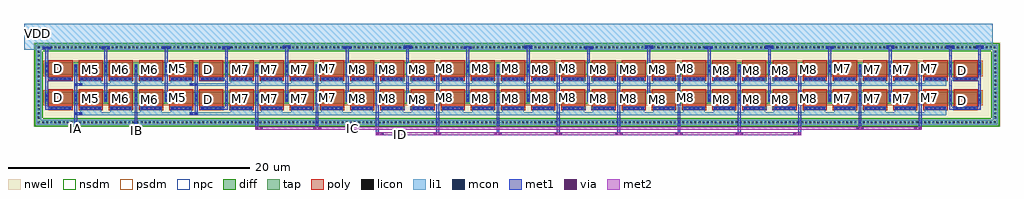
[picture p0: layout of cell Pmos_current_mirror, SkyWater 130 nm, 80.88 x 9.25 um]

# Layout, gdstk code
from math import pi, radians
import gdstk
lib = gdstk.Library(unit=1e-6, precision=1e-09)
def R(c, l, rs):  # rectangles x0, y0, x1, y1
    for r in rs: c.add(gdstk.rectangle(r[:2], r[2:], *l))
def A(c, l, x, y, w, h, nx, ny, dx, dy):  # array of equal rectangles
    R(c, l, [(x+i*dx, y+j*dy, x+i*dx+w, y+j*dy+h) for i in range(nx) for j in range(ny)])
nwell = (64, 20)
diff = (65, 20)
tap = (65, 44)
poly = (66, 20)
licon = (66, 44)
li1 = (67, 20)
mcon = (67, 44)
met1 = (68, 20)
via = (68, 44)
met2 = (69, 20)
nsdm = (93, 44)
psdm = (94, 20)
npc = (95, 20)

vias_gen_1 = lib.new_cell('vias_gen$1')
R(vias_gen_1, li1, [(0,0,0.66,0.23)])
R(vias_gen_1, mcon, [(0.065,0.03,0.235,0.2), (0.425,0.03,0.595,0.2)])
R(vias_gen_1, met1, [(0,0,0.66,0.23)])

pfet_1 = lib.new_cell('pfet$1')
R(pfet_1, nwell, [(-0.305,-0.38,77.905,1.72)])
R(pfet_1, diff, [(0,0,77.6,1)])
A(pfet_1, poly, 0.3, -0.2, 2, 1.4, 31, 1, 2.5, 0)
A(pfet_1, poly, 0.3, 1.2, 2, 0.33, 31, 1, 2.5, 0)
A(pfet_1, licon, 2.465, 0.235, 0.17, 0.17, 30, 2, 2.5, 0.36)
A(pfet_1, licon, 0.495, 1.28, 0.17, 0.17, 5, 1, 0.36, 0)
A(pfet_1, licon, 2.995, 1.28, 0.17, 0.17, 5, 1, 0.36, 0)
A(pfet_1, licon, 5.495, 1.28, 0.17, 0.17, 5, 1, 0.36, 0)
A(pfet_1, licon, 7.995, 1.28, 0.17, 0.17, 5, 1, 0.36, 0)
A(pfet_1, licon, 10.495, 1.28, 0.17, 0.17, 5, 1, 0.36, 0)
A(pfet_1, licon, 12.995, 1.28, 0.17, 0.17, 5, 1, 0.36, 0)
A(pfet_1, licon, 15.495, 1.28, 0.17, 0.17, 5, 1, 0.36, 0)
A(pfet_1, licon, 17.995, 1.28, 0.17, 0.17, 5, 1, 0.36, 0)
A(pfet_1, licon, 20.495, 1.28, 0.17, 0.17, 5, 1, 0.36, 0)
A(pfet_1, licon, 22.995, 1.28, 0.17, 0.17, 5, 1, 0.36, 0)
A(pfet_1, licon, 25.495, 1.28, 0.17, 0.17, 5, 1, 0.36, 0)
A(pfet_1, licon, 27.995, 1.28, 0.17, 0.17, 5, 1, 0.36, 0)
A(pfet_1, licon, 30.495, 1.28, 0.17, 0.17, 5, 1, 0.36, 0)
A(pfet_1, licon, 32.995, 1.28, 0.17, 0.17, 5, 1, 0.36, 0)
A(pfet_1, licon, 35.495, 1.28, 0.17, 0.17, 5, 1, 0.36, 0)
A(pfet_1, licon, 37.995, 1.28, 0.17, 0.17, 5, 1, 0.36, 0)
A(pfet_1, licon, 40.495, 1.28, 0.17, 0.17, 5, 1, 0.36, 0)
A(pfet_1, licon, 42.995, 1.28, 0.17, 0.17, 5, 1, 0.36, 0)
A(pfet_1, licon, 45.495, 1.28, 0.17, 0.17, 5, 1, 0.36, 0)
A(pfet_1, licon, 47.995, 1.28, 0.17, 0.17, 5, 1, 0.36, 0)
A(pfet_1, licon, 50.495, 1.28, 0.17, 0.17, 5, 1, 0.36, 0)
A(pfet_1, licon, 52.995, 1.28, 0.17, 0.17, 5, 1, 0.36, 0)
A(pfet_1, licon, 55.495, 1.28, 0.17, 0.17, 5, 1, 0.36, 0)
A(pfet_1, licon, 57.995, 1.28, 0.17, 0.17, 5, 1, 0.36, 0)
A(pfet_1, licon, 60.495, 1.28, 0.17, 0.17, 5, 1, 0.36, 0)
A(pfet_1, licon, 62.995, 1.28, 0.17, 0.17, 5, 1, 0.36, 0)
A(pfet_1, licon, 65.495, 1.28, 0.17, 0.17, 5, 1, 0.36, 0)
A(pfet_1, licon, 67.995, 1.28, 0.17, 0.17, 5, 1, 0.36, 0)
A(pfet_1, licon, 70.495, 1.28, 0.17, 0.17, 5, 1, 0.36, 0)
A(pfet_1, licon, 72.995, 1.28, 0.17, 0.17, 5, 1, 0.36, 0)
A(pfet_1, licon, 75.495, 1.28, 0.17, 0.17, 5, 1, 0.36, 0)
R(pfet_1, licon, [(0.065,0.235,0.235,0.405), (77.365,0.235,77.535,0.405), (0.065,0.595,0.235,0.765), (77.365,0.595,77.535,0.765)])
A(pfet_1, li1, 2.465, 0.155, 0.17, 0.69, 30, 1, 2.5, 0)
A(pfet_1, li1, 0.415, 1.28, 1.77, 0.17, 31, 1, 2.5, 0)
R(pfet_1, li1, [(0.065,0.155,0.235,0.845), (77.365,0.155,77.535,0.845)])
A(pfet_1, mcon, 2.465, 0.235, 0.17, 0.17, 30, 2, 2.5, 0.36)
A(pfet_1, mcon, 0.495, 1.28, 0.17, 0.17, 5, 1, 0.36, 0)
A(pfet_1, mcon, 2.995, 1.28, 0.17, 0.17, 5, 1, 0.36, 0)
A(pfet_1, mcon, 5.495, 1.28, 0.17, 0.17, 5, 1, 0.36, 0)
A(pfet_1, mcon, 7.995, 1.28, 0.17, 0.17, 5, 1, 0.36, 0)
A(pfet_1, mcon, 10.495, 1.28, 0.17, 0.17, 5, 1, 0.36, 0)
A(pfet_1, mcon, 12.995, 1.28, 0.17, 0.17, 5, 1, 0.36, 0)
A(pfet_1, mcon, 15.495, 1.28, 0.17, 0.17, 5, 1, 0.36, 0)
A(pfet_1, mcon, 17.995, 1.28, 0.17, 0.17, 5, 1, 0.36, 0)
A(pfet_1, mcon, 20.495, 1.28, 0.17, 0.17, 5, 1, 0.36, 0)
A(pfet_1, mcon, 22.995, 1.28, 0.17, 0.17, 5, 1, 0.36, 0)
A(pfet_1, mcon, 25.495, 1.28, 0.17, 0.17, 5, 1, 0.36, 0)
A(pfet_1, mcon, 27.995, 1.28, 0.17, 0.17, 5, 1, 0.36, 0)
A(pfet_1, mcon, 30.495, 1.28, 0.17, 0.17, 5, 1, 0.36, 0)
A(pfet_1, mcon, 32.995, 1.28, 0.17, 0.17, 5, 1, 0.36, 0)
A(pfet_1, mcon, 35.495, 1.28, 0.17, 0.17, 5, 1, 0.36, 0)
A(pfet_1, mcon, 37.995, 1.28, 0.17, 0.17, 5, 1, 0.36, 0)
A(pfet_1, mcon, 40.495, 1.28, 0.17, 0.17, 5, 1, 0.36, 0)
A(pfet_1, mcon, 42.995, 1.28, 0.17, 0.17, 5, 1, 0.36, 0)
A(pfet_1, mcon, 45.495, 1.28, 0.17, 0.17, 5, 1, 0.36, 0)
A(pfet_1, mcon, 47.995, 1.28, 0.17, 0.17, 5, 1, 0.36, 0)
A(pfet_1, mcon, 50.495, 1.28, 0.17, 0.17, 5, 1, 0.36, 0)
A(pfet_1, mcon, 52.995, 1.28, 0.17, 0.17, 5, 1, 0.36, 0)
A(pfet_1, mcon, 55.495, 1.28, 0.17, 0.17, 5, 1, 0.36, 0)
A(pfet_1, mcon, 57.995, 1.28, 0.17, 0.17, 5, 1, 0.36, 0)
A(pfet_1, mcon, 60.495, 1.28, 0.17, 0.17, 5, 1, 0.36, 0)
A(pfet_1, mcon, 62.995, 1.28, 0.17, 0.17, 5, 1, 0.36, 0)
A(pfet_1, mcon, 65.495, 1.28, 0.17, 0.17, 5, 1, 0.36, 0)
A(pfet_1, mcon, 67.995, 1.28, 0.17, 0.17, 5, 1, 0.36, 0)
A(pfet_1, mcon, 70.495, 1.28, 0.17, 0.17, 5, 1, 0.36, 0)
A(pfet_1, mcon, 72.995, 1.28, 0.17, 0.17, 5, 1, 0.36, 0)
A(pfet_1, mcon, 75.495, 1.28, 0.17, 0.17, 5, 1, 0.36, 0)
R(pfet_1, mcon, [(0.065,0.235,0.235,0.405), (77.365,0.235,77.535,0.405), (0.065,0.595,0.235,0.765), (77.365,0.595,77.535,0.765)])
A(pfet_1, met1, 2.435, 0.175, 0.23, 0.65, 30, 1, 2.5, 0)
A(pfet_1, met1, 0.435, 1.25, 1.73, 0.23, 31, 1, 2.5, 0)
R(pfet_1, met1, [(0.035,0.175,0.265,0.825), (77.335,0.175,77.565,0.825)])
R(pfet_1, psdm, [(-0.125,-0.125,77.725,1.125)])
A(pfet_1, npc, 0.29, 1.19, 2.02, 0.35, 31, 1, 2.5, 0)

vias_gen_3 = lib.new_cell('vias_gen$3')
R(vias_gen_3, nwell, [(-0.18,-0.18,0.59,79.88)])
R(vias_gen_3, tap, [(0,0,0.41,79.7)])
A(vias_gen_3, licon, 0.12, 0.155, 0.17, 0.17, 1, 234, 0, 0.34)
R(vias_gen_3, li1, [(0,0,0.41,79.7)])
R(vias_gen_3, nsdm, [(-0.125,-0.125,0.535,79.825)])

vias_gen = lib.new_cell('vias_gen')
R(vias_gen, nwell, [(-0.18,-0.18,0.59,5.98)])
R(vias_gen, tap, [(0,0,0.41,5.8)])
A(vias_gen, licon, 0.12, 0.095, 0.17, 0.17, 1, 17, 0, 0.34)
R(vias_gen, li1, [(0,0,0.41,5.8)])
R(vias_gen, nsdm, [(-0.125,-0.125,0.535,5.925)])

vias_gen_2 = lib.new_cell('vias_gen$2')
R(vias_gen_2, met1, [(0,0,0.64,0.26)])
R(vias_gen_2, via, [(0.085,0.055,0.235,0.205), (0.405,0.055,0.555,0.205)])
R(vias_gen_2, met2, [(0,0,0.64,0.26)])

pmos_current_mirror = lib.new_cell('Pmos_current_mirror')
R(pmos_current_mirror, nwell, [(-24.53,-4.29,55.53,2.69)])
A(pmos_current_mirror, li1, -20.705, -3.335, 1.77, 0.67, 4, 2, 2.5, 2.425)
A(pmos_current_mirror, li1, -8.205, -3.335, 1.77, 0.67, 24, 2, 2.5, 2.425)
R(pmos_current_mirror, li1, [(-20.53,-3.335,51.065,-3.105), (-20.53,-0.91,51.065,-0.68), (-25.35,2.1,54.945,4.25)])
A(pmos_current_mirror, met1, 13.815, -4.995, 0.23, 2.785, 3, 1, 5, 0)
A(pmos_current_mirror, met1, -6.185, -3.225, 0.23, 3.44, 12, 1, 5, 0)
A(pmos_current_mirror, met1, -3.685, -1.56, 0.23, 3.78, 3, 1, 5, 0)
A(pmos_current_mirror, met1, -8.685, 0.865, 0.23, 0.835, 11, 1, 5, 0)
R(pmos_current_mirror, met1, [(3.815,-4.995,4.045,-2.21), (33.815,-4.995,34.045,-2.21), (38.815,-4.995,39.045,-2.21), (28.815,-4.94,29.045,-2.21), (8.815,-4.885,9.045,-2.21), (-16.185,-4.705,-15.955,-2.21), (-21.185,-4.58,-20.955,0.865), (-6.185,-4.55,-5.955,-2.21), (-1.185,-4.405,-0.955,-2.21), (43.815,-4.29,44.045,-2.21), (48.815,-4.29,49.045,-2.21), (-16.185,-3.555,-15.955,0.215), (-11.185,-3.335,-10.955,0.215), (-11.185,-3.225,-10.955,-2.21), (-23.585,-2.865,-23.355,-2.21), (-23.53,-2.865,-23.185,-2.635), (-8.955,-2.865,-8.455,-2.635), (51.315,-2.865,51.815,-2.635), (53.445,-2.865,53.945,-2.635), (53.715,-2.865,53.945,-2.21), (51.315,-2.795,51.545,-2.21), (-8.685,-2.675,-8.455,-2.21), (-23.585,-1.56,-23.355,2.265), (-18.685,-1.56,-18.455,2.275), (-13.685,-1.56,-13.455,2.265), (-8.685,-1.56,-8.455,2.295), (11.315,-1.56,11.545,2.295), (16.315,-1.56,16.545,2.275), (21.315,-1.56,21.545,2.22), (26.315,-1.56,26.545,2.22), (31.315,-1.56,31.545,2.24), (36.315,-1.56,36.545,2.22), (41.315,-1.56,41.545,2.255), (46.315,-1.56,46.545,1.695), (51.315,-1.56,51.545,2.245), (53.715,-1.56,53.945,2.285), (-21.185,-0.8,-20.955,0.215), (-23.585,-0.44,-23.355,0.215), (-23.53,-0.44,-23.185,-0.21), (-8.955,-0.44,-8.455,-0.21), (51.315,-0.44,51.815,-0.21), (53.445,-0.44,53.945,-0.21), (53.715,-0.44,53.945,0.215), (51.315,-0.37,51.545,0.215), (-8.685,-0.25,-8.455,0.215), (-23.585,0.865,-23.355,1.7), (-18.685,0.865,-18.455,1.7), (-13.685,0.865,-13.455,2.285), (46.315,0.865,46.545,2.265), (51.315,0.865,51.545,1.7), (53.715,0.865,53.945,1.7)])
R(pmos_current_mirror, met2, [(4.455,-4.995,38.815,-4.735), (-6.185,-4.55,48.405,-4.29)])
pmos_current_mirror.add(gdstk.Reference(vias_gen_1, (-21.185,-0.91)))
pmos_current_mirror.add(gdstk.Reference(vias_gen_1, (-11.615,-0.91)))
pmos_current_mirror.add(gdstk.Reference(pfet_1, (-23.62,1.04), x_reflection=True))
pmos_current_mirror.add(gdstk.Reference(vias_gen_1, (-21.185,-3.335)))
pmos_current_mirror.add(gdstk.Reference(vias_gen_1, (-11.615,-3.335)))
pmos_current_mirror.add(gdstk.Reference(pfet_1, (-23.62,-1.385), x_reflection=True))
pmos_current_mirror.add(gdstk.Reference(vias_gen_3, (-24.35,-3.7), rotation=3*pi/2))
pmos_current_mirror.add(gdstk.Reference(vias_gen, (-23.94,2.1), rotation=pi))
pmos_current_mirror.add(gdstk.Reference(vias_gen_3, (-24.35,2.51), rotation=3*pi/2))
pmos_current_mirror.add(gdstk.Reference(vias_gen, (55.35,2.1), rotation=pi))
pmos_current_mirror.add(gdstk.Reference(vias_gen_2, (-6.185,-4.55)))
pmos_current_mirror.add(gdstk.Reference(vias_gen_2, (-1.37,-4.55)))
pmos_current_mirror.add(gdstk.Reference(vias_gen_2, (48.405,-4.55)))
pmos_current_mirror.add(gdstk.Reference(vias_gen_2, (43.615,-4.55)))
pmos_current_mirror.add(gdstk.Reference(vias_gen_2, (3.815,-4.995)))
pmos_current_mirror.add(gdstk.Reference(vias_gen_2, (38.405,-4.995)))
pmos_current_mirror.add(gdstk.Reference(vias_gen_2, (33.63,-4.995)))
pmos_current_mirror.add(gdstk.Reference(vias_gen_2, (28.615,-4.995)))
pmos_current_mirror.add(gdstk.Reference(vias_gen_2, (23.63,-4.995)))
pmos_current_mirror.add(gdstk.Reference(vias_gen_2, (18.615,-4.995)))
pmos_current_mirror.add(gdstk.Reference(vias_gen_2, (13.6,-4.995)))
pmos_current_mirror.add(gdstk.Reference(vias_gen_2, (8.605,-4.995)))
pmos_current_mirror.add(gdstk.Reference(vias_gen_1, (-23.79,2.13)))
pmos_current_mirror.add(gdstk.Reference(vias_gen_1, (-18.89,2.135)))
pmos_current_mirror.add(gdstk.Reference(vias_gen_1, (-13.89,2.16)))
pmos_current_mirror.add(gdstk.Reference(vias_gen_1, (-8.925,2.15)))
pmos_current_mirror.add(gdstk.Reference(vias_gen_1, (-3.925,2.175)))
pmos_current_mirror.add(gdstk.Reference(vias_gen_1, (1.125,2.155)))
pmos_current_mirror.add(gdstk.Reference(vias_gen_1, (6.125,2.18)))
pmos_current_mirror.add(gdstk.Reference(vias_gen_1, (11.09,2.17)))
pmos_current_mirror.add(gdstk.Reference(vias_gen_1, (16.09,2.195)))
pmos_current_mirror.add(gdstk.Reference(vias_gen_1, (21.105,2.15)))
pmos_current_mirror.add(gdstk.Reference(vias_gen_1, (26.105,2.175)))
pmos_current_mirror.add(gdstk.Reference(vias_gen_1, (31.07,2.165)))
pmos_current_mirror.add(gdstk.Reference(vias_gen_1, (36.07,2.19)))
pmos_current_mirror.add(gdstk.Reference(vias_gen_1, (41.095,2.16)))
pmos_current_mirror.add(gdstk.Reference(vias_gen_1, (46.095,2.185)))
pmos_current_mirror.add(gdstk.Reference(vias_gen_1, (51.06,2.175)))
pmos_current_mirror.add(gdstk.Reference(vias_gen_1, (53.51,2.185)))
pmos_current_mirror.add(gdstk.Label('M5', (-19.84,-1.97), layer=68, texttype=5))
pmos_current_mirror.add(gdstk.Label('M6', (-17.38,-1.98), layer=68, texttype=5))
pmos_current_mirror.add(gdstk.Label('M6', (-14.935,-1.995), layer=68, texttype=5))
pmos_current_mirror.add(gdstk.Label('M5', (-12.63,-1.9), layer=68, texttype=5))
pmos_current_mirror.add(gdstk.Label('D', (-10.075,-2.005), layer=68, texttype=5))
pmos_current_mirror.add(gdstk.Label('M7', (-7.44,-1.95), layer=68, texttype=5))
pmos_current_mirror.add(gdstk.Label('M7', (-4.98,-1.96), layer=68, texttype=5))
pmos_current_mirror.add(gdstk.Label('M7', (-2.535,-1.975), layer=68, texttype=5))
pmos_current_mirror.add(gdstk.Label('M7', (-0.23,-1.88), layer=68, texttype=5))
pmos_current_mirror.add(gdstk.Label('M8', (2.315,-1.965), layer=68, texttype=5))
pmos_current_mirror.add(gdstk.Label('M8', (4.775,-1.975), layer=68, texttype=5))
pmos_current_mirror.add(gdstk.Label('M8', (7.22,-1.99), layer=68, texttype=5))
pmos_current_mirror.add(gdstk.Label('M8', (9.525,-1.895), layer=68, texttype=5))
pmos_current_mirror.add(gdstk.Label('M8', (12.52,-1.915), layer=68, texttype=5))
pmos_current_mirror.add(gdstk.Label('M8', (14.98,-1.925), layer=68, texttype=5))
pmos_current_mirror.add(gdstk.Label('M8', (17.425,-1.94), layer=68, texttype=5))
pmos_current_mirror.add(gdstk.Label('M8', (19.73,-1.845), layer=68, texttype=5))
pmos_current_mirror.add(gdstk.Label('M8', (22.245,-1.965), layer=68, texttype=5))
pmos_current_mirror.add(gdstk.Label('M8', (24.705,-1.975), layer=68, texttype=5))
pmos_current_mirror.add(gdstk.Label('M8', (27.15,-1.99), layer=68, texttype=5))
pmos_current_mirror.add(gdstk.Label('M8', (29.455,-1.895), layer=68, texttype=5))
pmos_current_mirror.add(gdstk.Label('M8', (32.465,-2.045), layer=68, texttype=5))
pmos_current_mirror.add(gdstk.Label('M8', (34.925,-2.055), layer=68, texttype=5))
pmos_current_mirror.add(gdstk.Label('M8', (37.37,-2.07), layer=68, texttype=5))
pmos_current_mirror.add(gdstk.Label('M8', (39.675,-1.975), layer=68, texttype=5))
pmos_current_mirror.add(gdstk.Label('M7', (42.49,-1.925), layer=68, texttype=5))
pmos_current_mirror.add(gdstk.Label('M7', (44.95,-1.935), layer=68, texttype=5))
pmos_current_mirror.add(gdstk.Label('M7', (47.395,-1.95), layer=68, texttype=5))
pmos_current_mirror.add(gdstk.Label('M7', (49.7,-1.855), layer=68, texttype=5))
pmos_current_mirror.add(gdstk.Label('D', (52.455,-2.08), layer=68, texttype=5))
pmos_current_mirror.add(gdstk.Label('D', (-22.51,-1.88), layer=68, texttype=5))
pmos_current_mirror.add(gdstk.Label('M5', (-19.84,0.455), layer=68, texttype=5))
pmos_current_mirror.add(gdstk.Label('M6', (-17.38,0.445), layer=68, texttype=5))
pmos_current_mirror.add(gdstk.Label('M6', (-14.935,0.43), layer=68, texttype=5))
pmos_current_mirror.add(gdstk.Label('M5', (-12.63,0.525), layer=68, texttype=5))
pmos_current_mirror.add(gdstk.Label('D', (-10.075,0.42), layer=68, texttype=5))
pmos_current_mirror.add(gdstk.Label('M7', (-7.44,0.475), layer=68, texttype=5))
pmos_current_mirror.add(gdstk.Label('M7', (-4.98,0.465), layer=68, texttype=5))
pmos_current_mirror.add(gdstk.Label('M7', (-2.535,0.45), layer=68, texttype=5))
pmos_current_mirror.add(gdstk.Label('M7', (-0.23,0.545), layer=68, texttype=5))
pmos_current_mirror.add(gdstk.Label('M8', (2.315,0.46), layer=68, texttype=5))
pmos_current_mirror.add(gdstk.Label('M8', (4.775,0.45), layer=68, texttype=5))
pmos_current_mirror.add(gdstk.Label('M8', (7.22,0.435), layer=68, texttype=5))
pmos_current_mirror.add(gdstk.Label('M8', (9.525,0.53), layer=68, texttype=5))
pmos_current_mirror.add(gdstk.Label('M8', (12.52,0.51), layer=68, texttype=5))
pmos_current_mirror.add(gdstk.Label('M8', (14.98,0.5), layer=68, texttype=5))
pmos_current_mirror.add(gdstk.Label('M8', (17.425,0.485), layer=68, texttype=5))
pmos_current_mirror.add(gdstk.Label('M8', (19.73,0.58), layer=68, texttype=5))
pmos_current_mirror.add(gdstk.Label('M8', (22.245,0.46), layer=68, texttype=5))
pmos_current_mirror.add(gdstk.Label('M8', (24.705,0.45), layer=68, texttype=5))
pmos_current_mirror.add(gdstk.Label('M8', (27.15,0.435), layer=68, texttype=5))
pmos_current_mirror.add(gdstk.Label('M8', (29.455,0.53), layer=68, texttype=5))
pmos_current_mirror.add(gdstk.Label('M8', (32.465,0.38), layer=68, texttype=5))
pmos_current_mirror.add(gdstk.Label('M8', (34.925,0.37), layer=68, texttype=5))
pmos_current_mirror.add(gdstk.Label('M8', (37.37,0.355), layer=68, texttype=5))
pmos_current_mirror.add(gdstk.Label('M8', (39.675,0.45), layer=68, texttype=5))
pmos_current_mirror.add(gdstk.Label('M7', (42.49,0.5), layer=68, texttype=5))
pmos_current_mirror.add(gdstk.Label('M7', (44.95,0.49), layer=68, texttype=5))
pmos_current_mirror.add(gdstk.Label('M7', (47.395,0.475), layer=68, texttype=5))
pmos_current_mirror.add(gdstk.Label('M7', (49.7,0.57), layer=68, texttype=5))
pmos_current_mirror.add(gdstk.Label('D', (52.455,0.345), layer=68, texttype=5))
pmos_current_mirror.add(gdstk.Label('D', (-22.51,0.545), layer=68, texttype=5))
pmos_current_mirror.add(gdstk.Label('VDD', (-24.205,3.41), layer=67, texttype=16))
pmos_current_mirror.add(gdstk.Label('IA', (-21.09,-4.47), layer=68, texttype=16))
pmos_current_mirror.add(gdstk.Label('IB', (-16.065,-4.625), layer=68, texttype=16))
pmos_current_mirror.add(gdstk.Label('IC', (1.87,-4.435), layer=69, texttype=16))
pmos_current_mirror.add(gdstk.Label('ID', (5.815,-4.92), layer=69, texttype=16))

lib.write_gds('Pmos_current_mirror.gds')
